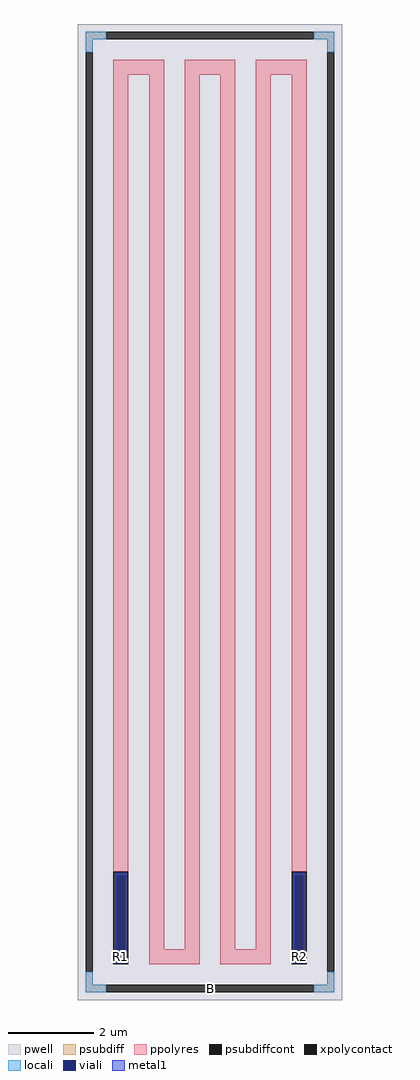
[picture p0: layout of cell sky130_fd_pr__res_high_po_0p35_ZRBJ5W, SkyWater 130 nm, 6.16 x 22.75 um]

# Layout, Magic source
magic
tech sky130A
magscale 1 2
<< pwell >>
rect -616 -2275 616 2275
<< psubdiff >>
rect -580 2205 -484 2239
rect 484 2205 580 2239
rect -580 2143 -546 2205
rect 546 2143 580 2205
rect -580 -2205 -546 -2143
rect 546 -2205 580 -2143
rect -580 -2239 -484 -2205
rect 484 -2239 580 -2205
<< psubdiffcont >>
rect -484 2205 484 2239
rect -580 -2143 -546 2143
rect 546 -2143 580 2143
rect -484 -2239 484 -2205
<< xpolycontact >>
rect -450 -2109 -380 -1677
rect 380 -2109 450 -1677
<< ppolyres >>
rect -450 2039 -214 2109
rect -450 -1677 -380 2039
rect -284 -2039 -214 2039
rect -118 2039 118 2109
rect -118 -2039 -48 2039
rect -284 -2109 -48 -2039
rect 48 -2039 118 2039
rect 214 2039 450 2109
rect 214 -2039 284 2039
rect 48 -2109 284 -2039
rect 380 -1677 450 2039
<< locali >>
rect -580 2205 -484 2239
rect 484 2205 580 2239
rect -580 2143 -546 2205
rect 546 2143 580 2205
rect -580 -2205 -546 -2143
rect 546 -2205 580 -2143
rect -580 -2239 -484 -2205
rect 484 -2239 580 -2205
<< viali >>
rect -434 -2091 -396 -1694
rect 396 -2091 434 -1694
<< metal1 >>
rect -440 -1694 -390 -1682
rect -440 -2091 -434 -1694
rect -396 -2091 -390 -1694
rect -440 -2103 -390 -2091
rect 390 -1694 440 -1682
rect 390 -2091 396 -1694
rect 434 -2091 440 -1694
rect 390 -2103 440 -2091
<< labels >>
rlabel psubdiffcont 0 -2222 0 -2222 0 B
port 1 nsew
rlabel xpolycontact -415 -2074 -415 -2074 0 R1
port 2 nsew
rlabel xpolycontact 415 -2074 415 -2074 0 R2
port 3 nsew
<< properties >>
string FIXED_BBOX -563 -2222 563 2222
string gencell sky130_fd_pr__res_high_po_0p35
string library sky130
string parameters w 0.35 l 21.09 m 1 nx 6 wmin 0.350 lmin 0.50 class resistor rho 319.8 val 118.333k dummy 0 dw 0.0 term 194.82 sterm 0.0 caplen 0 guard 1 glc 1 grc 1 gtc 1 gbc 1 compatible {sky130_fd_pr__res_high_po_0p35  sky130_fd_pr__res_high_po_0p69 sky130_fd_pr__res_high_po_1p41  sky130_fd_pr__res_high_po_2p85 sky130_fd_pr__res_high_po_5p73} snake 1 full_metal 1 wmax 0.350 vias 1 n_guard 0 hv_guard 0 viagb 0 viagt 0 viagl 0 viagr 0 doports 1
<< end >>
